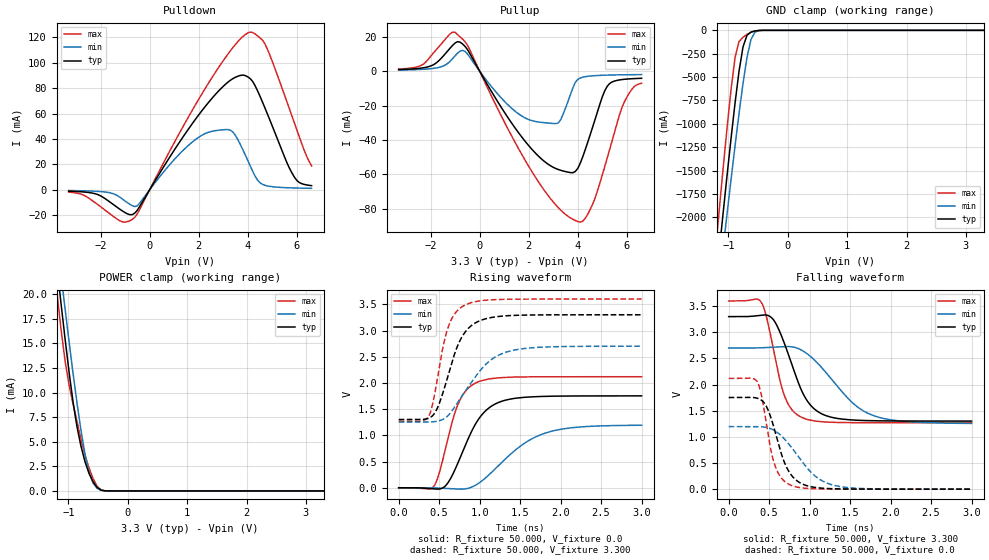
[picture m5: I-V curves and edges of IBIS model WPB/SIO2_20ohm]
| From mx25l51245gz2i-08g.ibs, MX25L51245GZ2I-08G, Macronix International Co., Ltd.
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|   Model WPB/SIO2_20ohm
[Model] WPB/SIO2_20ohm
Model_type I/O
Vinl = 0.8
Vinh = 2.31
Vmeas = 1.65
Vref = 3.3
Cref = 30pF
Rref = 25000
Polarity   Non-Inverting
Enable   Active-High
C_comp   5.122pF   4.532pF   5.950pF
[Temperature Range]   25.000   85.000   -40.000
[Voltage Range]   3.300V   2.700V   3.600V
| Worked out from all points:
|   slope of the pulldown table from 0 to 0.495 V, typ, clamps not added: 31.4 ohm
|   slope of the pullup table from 0 to 0.495 V, typ, clamps not added: 40.8 ohm
|   GND clamp passes 1 mA (typ) near -0.46 V on its own axis
|   POWER clamp passes 1 mA (typ) near -0.59 V on its own axis
|   rising waveform, R_fixture 50.000, V_fixture 0.0: 20-80 % time 336ps typ, 561ps min, 237ps max; typ from 0 V to 1.75 V
|   rising waveform, R_fixture 50.000, V_fixture 3.300: 20-80 % time 267ps typ, 423ps min, 190ps max; typ from 1.3 V to 3.3 V
|   falling waveform, R_fixture 50.000, V_fixture 3.300: 20-80 % time 305ps typ, 517ps min, 211ps max; typ from 3.3 V to 1.3 V
|   falling waveform, R_fixture 50.000, V_fixture 0.0: 20-80 % time 225ps typ, 386ps min, 160ps max; typ from 1.75 V to 0 V
[Pulldown]
|Voltage   I(typ)   I(min)   I(max)
-3.3V     -1.106mA   -603uA     -1.825mA
-2.1V     -3.879mA   -1.285mA   -11.87mA
-1.1V     -16.79mA   -7.436mA   -25.36mA
-600mV    -18.26mA   -13.21mA   -21.54mA
1.3V      39.92mA    29.84mA    47.66mA
2.4V      68.82mA    45.33mA    84.08mA
3.4V      87.65mA    45.32mA    112.2mA
4.1V      87.52mA    18.78mA    124.2mA
4.7V      64.35mA    3.531mA    114.9mA
5.8V      13.22mA    1.476mA    58.05mA
6.1V      5.716mA    1.32mA     41.66mA
6.6V      3.251mA    1.142mA    18.72mA
[Pullup]
|Voltage   I(typ)   I(min)   I(max)
-3.3V     906.6uA    609.3uA    1.209mA
-1.9V     3.614mA    1.596mA    10.31mA
-1V       16.38mA    8.943mA    22.57mA
-600mV    14.47mA    11.53mA    17.25mA
1.1V      -25.87mA   -18.84mA   -32.12mA
2.3V      -48.03mA   -29.32mA   -62.24mA
3.2V      -57.15mA   -30.17mA   -79.29mA
4.1V      -53.53mA   -3.992mA   -87.81mA
4.6V      -32.71mA   -2.701mA   -77.5mA
5.2V      -8.746mA   -2.29mA    -50.43mA
5.9V      -4.723mA   -2.093mA   -17.8mA
6.6V      -4.136mA   -1.991mA   -7.052mA
[GND_clamp]
|Voltage   I(typ)   I(min)   I(max)
-3.3V     -16.26A    -15.31A    -17.41A
-1.223V   -2.788A    -3.096A    -2.396A
-1.156V   -2.368A    -2.714A    -1.932A
-1.089V   -1.954A    -2.335A    -1.477A
-1.022V   -1.548A    -1.961A    -1.039A
-888mV    -776.8mA   -1.234A    -291.6mA
-821mV    -437.7mA   -889.2mA   -120.5mA
-754mV    -177.1mA   -568mA     -74.43mA
-620mV    -19.02mA   -98.47mA   -20.06mA
-553mV    -6.733mA   -19.87mA   -6.465mA
-419mV    -211.5uA   -407.9uA   -100.1uA
3.3V      0A         0A         0A
[POWER_clamp]
|Voltage   I(typ)   I(min)   I(max)
-3.266V   146mA      139.2mA    154.6mA
-1.189V   22.58mA    25.31mA    19.95mA
-1.122V   18.93mA    21.85mA    16.32mA
-1.055V   15.39mA    18.45mA    13.16mA
-921mV    9.001mA    11.93mA    8.823mA
-854mV    6.475mA    8.882mA    7.037mA
-787mV    4.516mA    6.099mA    5.219mA
-720mV    2.958mA    3.727mA    3.621mA
-653mV    1.778mA    1.943mA    2.338mA
-586mV    943.4uA    826.9uA    1.274mA
-452mV    87.64uA    64.62uA    107.4uA
3.3V      0A         0A         0A
[Ramp]
| variable   typ   min   max
dV/dt_r   1.052/0.340n   0.715/0.569n   1.271/0.241n
dV/dt_f   1.199/0.310n   0.865/0.524n   1.398/0.213n
R_load = 50.000
[Rising Waveform]
R_fixture= 50.000
V_fixture= 0.0
V_fixture_min= 0.0
V_fixture_max= 0.0
|time   V(typ)   V(min)   V(max)
0s        1.134uV    1.145uV    1.077uV
436ps     -21.21mV   -4.053mV   31.51mV
495ps     -25.33mV   -6.922mV   250.5mV
588ps     53.2mV     -12.8mV    805.6mV
735ps     484.4mV    -25.62mV   1.6V
836ps     856.2mV    -18.55mV   1.862V
965ps     1.257V     62.11mV    2.009V
1.248ns   1.636V     446.2mV    2.099V
1.788ns   1.743V     1.031V     2.117V
3ns       1.753V     1.192V     2.118V
[Rising Waveform]
R_fixture= 50.000
V_fixture= 3.300
V_fixture_min= 2.700
V_fixture_max= 3.600
|time   V(typ)   V(min)   V(max)
0s        1.302V     1.253V     1.27V
367ps     1.325V     1.253V     1.356V
416ps     1.37V      1.257V     1.574V
478ps     1.519V     1.271V     2.077V
606ps     2.117V     1.371V     3.04V
718ps     2.672V     1.603V     3.368V
822ps     2.972V     1.843V     3.488V
1.098ns   3.233V     2.387V     3.581V
1.378ns   3.285V     2.609V     3.596V
3ns       3.3V       2.7V       3.6V
[Falling Waveform]
R_fixture= 50.000
V_fixture= 3.300
V_fixture_min= 2.700
V_fixture_max= 3.600
|time   V(typ)   V(min)   V(max)
0s        3.3V       2.7V       3.6V
409ps     3.328V     2.704V     3.557V
546ps     3.253V     2.714V     2.731V
680ps     2.821V     2.727V     1.825V
769ps     2.438V     2.724V     1.544V
896ps     1.901V     2.663V     1.377V
1.166ns   1.428V     2.295V     1.288V
1.518ns   1.324V     1.668V     1.272V
1.748ns   1.31V      1.431V     1.271V
3ns       1.302V     1.258V     1.27V
[Falling Waveform]
R_fixture= 50.000
V_fixture= 0.0
V_fixture_min= 0.0
V_fixture_max= 0.0
|time   V(typ)   V(min)   V(max)
0s        1.753V     1.197V     2.118V
359ps     1.737V     1.198V     2.038V
409ps     1.696V     1.193V     1.768V
465ps     1.584V     1.181V     1.256V
559ps     1.178V     1.128V     512.2mV
665ps     608.4mV    998mV      187.3mV
756ps     308mV      837.8mV    84.23mV
1.048ns   38.06mV    276.8mV    8.318mV
1.308ns   7.456mV    70.72mV    1.751mV
3ns       270.8uV    243.6uV    378.2uV
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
